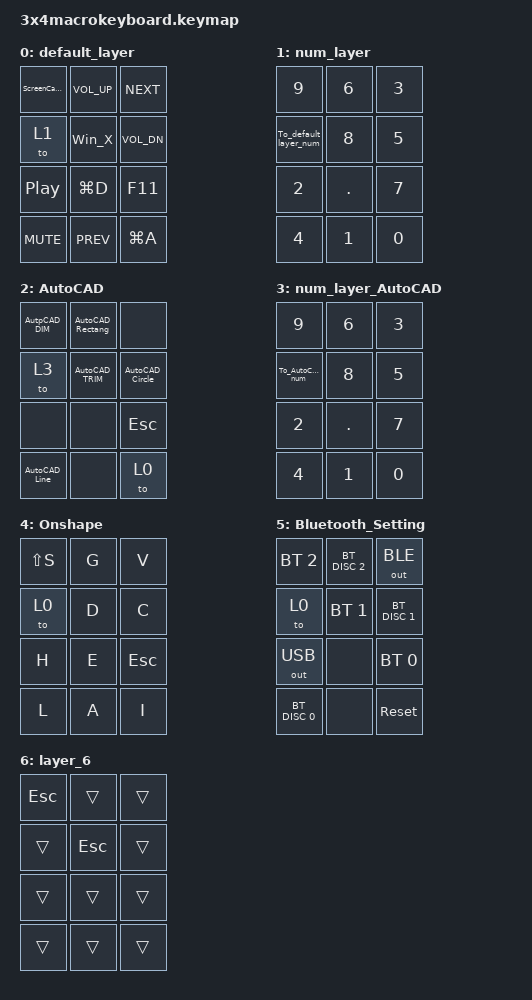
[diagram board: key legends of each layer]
/*
 * Copyright (c) 2020 The ZMK Contributors
 *
 * SPDX-License-Identifier: MIT
 */

#include <behaviors.dtsi>
#include <dt-bindings/zmk/bt.h>
#include <dt-bindings/zmk/keys.h>
#include <dt-bindings/zmk/outputs.h>

/ {
    macros {
        AutoCAD_Line: AutoCAD {
            compatible = "zmk,behavior-macro";
            #binding-cells = <0>;
            bindings = <&macro_tap>, <&kp ESC &kp L &kp RET>;

            label = "AUTOCAD";
        };

        AutoCAD_Circle: AutoCAD_Circle {
            compatible = "zmk,behavior-macro";
            #binding-cells = <0>;
            bindings = <&kp ESC &kp C &kp RET>, <&macro_tap>;

            label = "AUTOCAD_CIRCLE";
        };

        ScreenCapture: ScreenCapture {
            compatible = "zmk,behavior-macro";
            #binding-cells = <0>;
            bindings = <&kp LS(LG(S)) &sl 6>;
            label = "SCREENCAPTURE";
        };

        AutoCAD_Rectang: AutoCAD_Rectang {
            compatible = "zmk,behavior-macro";
            #binding-cells = <0>;
            bindings = <&kp ESC &kp R &kp E &kp C &kp RET>, <&macro_tap>;

            label = "AUTOCAD_RECTANG";
        };

        AutpCAD_DIM: AutpCAD_DIM {
            compatible = "zmk,behavior-macro";
            #binding-cells = <0>;
            bindings = <&kp ESC &kp D &kp I &kp M &kp RET>, <&macro_tap>;

            label = "AUTPCAD_DIM";
        };

        AutoCAD_TRIM: AutoCAD_TRIM {
            compatible = "zmk,behavior-macro";
            #binding-cells = <0>;
            bindings = <&kp ESC &kp T &kp R &kp RET>, <&macro_tap>;

            label = "AUTOCAD_TRIM";
        };

        To_AutoCAD_num: To_AutoCAD_num {
            compatible = "zmk,behavior-macro";
            #binding-cells = <0>;
            bindings = <&kp RET &to 2>;
            label = "TO_AUTOCAD_NUM";
        };

        To_default_layer_num: To_default_layer_num {
            compatible = "zmk,behavior-macro";
            #binding-cells = <0>;
            bindings = <&kp ENTER &to 0>;
            label = "TO_DEFAULT_LAYER_NUM";
        };

        Win_X: Win_X {
            compatible = "zmk,behavior-macro";
            #binding-cells = <0>;
            bindings = <&kp LG(X) &sl 6>;
            label = "WIN_X";
        };
    };

    combos {
        compatible = "zmk,combos";

        AutoCAD {
            bindings = <&to 2>;
            key-positions = <3 4>;
            layers = <0>;
        };

        Onshape {
            bindings = <&to 4>;
            key-positions = <3 8>;
            layers = <0>;
        };

        Backspace {
            bindings = <&kp BACKSPACE>;
            key-positions = <3 7>;
            layers = <3 1>;
        };

        Bluetooth_Setting {
            bindings = <&to 5>;
            key-positions = <3 9>;
            layers = <0>;
        };

        Keyboard_Reset_Behavior {
            bindings = <&bootloader>;
            key-positions = <7 3>;
            layers = <5>;
        };

        BT_Clear_profile {
            bindings = <&bt BT_CLR>;
            key-positions = <3 10>;
            layers = <5>;
        };
    };

    behaviors {
        new_behavior: new_behavior {
            compatible = "zmk,behavior-key-toggle";
            label = "NEW_BEHAVIOR";
            #binding-cells = <1>;
        };
    };

    keymap {
        compatible = "zmk,keymap";

        default_layer {
            bindings = <
&ScreenCapture  &kp C_VOL_UP  &kp C_NEXT  &to 1
&Win_X          &kp C_VOL_DN  &kp C_PP    &kp LG(D)
&kp F11         &kp C_MUTE    &kp C_PREV  &kp LG(A)
            >;
        };

        num_layer {
            bindings = <
&kp N9  &kp N6  &kp N3  &To_default_layer_num
&kp N8  &kp N5  &kp N2  &kp DOT
&kp N7  &kp N4  &kp N1  &kp N0
            >;
        };

        AutoCAD {
            bindings = <
&AutpCAD_DIM   &AutoCAD_Rectang  &none  &to 3
&AutoCAD_TRIM  &AutoCAD_Circle   &none  &none
&kp ESC        &AutoCAD_Line     &none  &to 0
            >;
        };

        num_layer_AutoCAD {
            bindings = <
&kp N9  &kp N6  &kp N3  &To_AutoCAD_num
&kp N8  &kp N5  &kp N2  &kp DOT
&kp N7  &kp N4  &kp N1  &kp N0
            >;
        };

        Onshape {
            bindings = <
&kp LS(S)  &kp G  &kp V  &to 0
&kp D      &kp C  &kp H  &kp E
&kp ESC    &kp L  &kp A  &kp I
            >;
        };

        Bluetooth_Setting {
            bindings = <
&bt BT_SEL 2  &bt BT_DISC 2  &out OUT_BLE  &to 0
&bt BT_SEL 1  &bt BT_DISC 1  &out OUT_USB  &none
&bt BT_SEL 0  &bt BT_DISC 0  &none         &sys_reset
            >;
        };

        layer_6 {
            bindings = <
&kp ESC  &trans  &trans  &trans
&kp ESC  &trans  &trans  &trans
&trans   &trans  &trans  &trans
            >;
        };
    };
};
